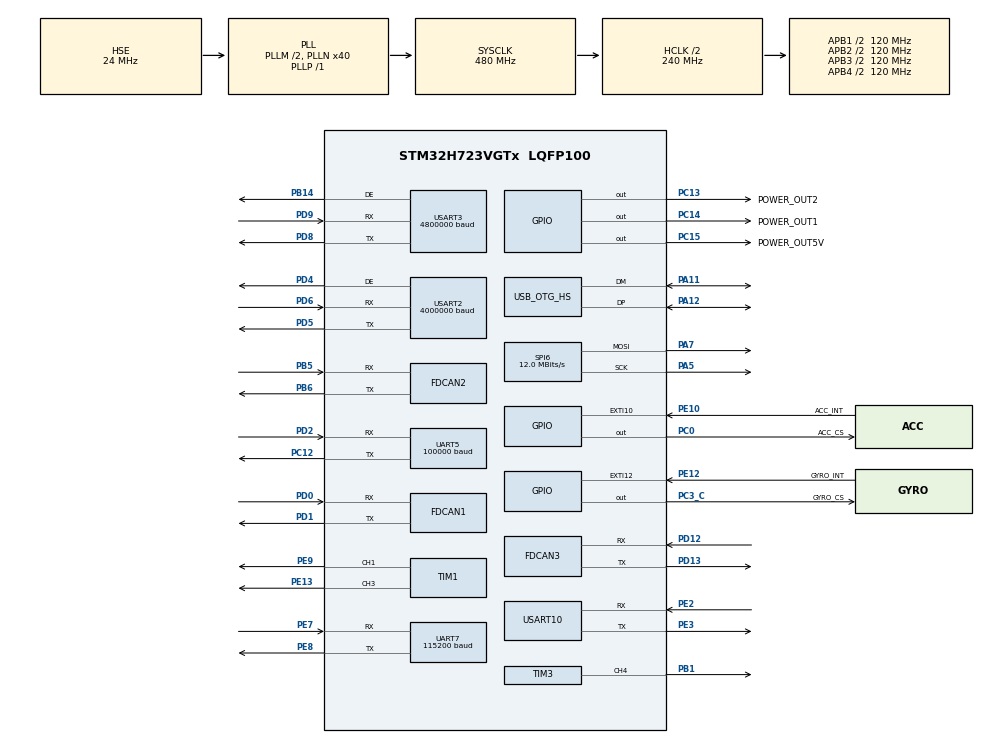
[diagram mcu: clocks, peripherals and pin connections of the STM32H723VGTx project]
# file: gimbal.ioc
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CRC.DefaultPolynomialUse=DEFAULT_POLYNOMIAL_DISABLE
Dma.Request0=USART2_RX
Dma.Request1=UART7_RX
Dma.Request2=UART7_TX
Dma.Request3=USART10_RX
Dma.Request4=USART10_TX
Dma.Request5=UART5_RX
Dma.UART5_RX.5.Direction=DMA_PERIPH_TO_MEMORY
Dma.UART5_RX.5.EventEnable=DISABLE
Dma.UART5_RX.5.FIFOMode=DMA_FIFOMODE_DISABLE
Dma.UART5_RX.5.Instance=DMA1_Stream1
Dma.UART5_RX.5.MemDataAlignment=DMA_MDATAALIGN_BYTE
Dma.UART5_RX.5.MemInc=DMA_MINC_ENABLE
Dma.UART5_RX.5.Mode=DMA_CIRCULAR
Dma.UART5_RX.5.PeriphDataAlignment=DMA_PDATAALIGN_BYTE
Dma.UART5_RX.5.PeriphInc=DMA_PINC_DISABLE
Dma.UART5_RX.5.Polarity=HAL_DMAMUX_REQ_GEN_RISING
Dma.UART5_RX.5.Priority=DMA_PRIORITY_VERY_HIGH
Dma.UART5_RX.5.RequestNumber=1
Dma.UART5_RX.5.SignalID=NONE
Dma.UART5_RX.5.SyncEnable=DISABLE
Dma.UART5_RX.5.SyncPolarity=HAL_DMAMUX_SYNC_NO_EVENT
Dma.UART5_RX.5.SyncRequestNumber=1
Dma.UART5_RX.5.SyncSignalID=NONE
Dma.UART7_RX.1.Direction=DMA_PERIPH_TO_MEMORY
Dma.UART7_RX.1.EventEnable=DISABLE
Dma.UART7_RX.1.FIFOMode=DMA_FIFOMODE_DISABLE
Dma.UART7_RX.1.Instance=DMA2_Stream2
Dma.UART7_RX.1.MemDataAlignment=DMA_MDATAALIGN_BYTE
Dma.UART7_RX.1.MemInc=DMA_MINC_ENABLE
Dma.UART7_RX.1.Mode=DMA_CIRCULAR
Dma.UART7_RX.1.PeriphDataAlignment=DMA_PDATAALIGN_BYTE
Dma.UART7_RX.1.PeriphInc=DMA_PINC_DISABLE
Dma.UART7_RX.1.Polarity=HAL_DMAMUX_REQ_GEN_RISING
Dma.UART7_RX.1.Priority=DMA_PRIORITY_VERY_HIGH
Dma.UART7_RX.1.RequestNumber=1
Dma.UART7_RX.1.SignalID=NONE
Dma.UART7_RX.1.SyncEnable=DISABLE
Dma.UART7_RX.1.SyncPolarity=HAL_DMAMUX_SYNC_NO_EVENT
Dma.UART7_RX.1.SyncRequestNumber=1
Dma.UART7_RX.1.SyncSignalID=NONE
Dma.UART7_TX.2.Direction=DMA_MEMORY_TO_PERIPH
Dma.UART7_TX.2.EventEnable=DISABLE
Dma.UART7_TX.2.FIFOMode=DMA_FIFOMODE_DISABLE
Dma.UART7_TX.2.Instance=DMA2_Stream1
Dma.UART7_TX.2.MemDataAlignment=DMA_MDATAALIGN_BYTE
Dma.UART7_TX.2.MemInc=DMA_MINC_ENABLE
Dma.UART7_TX.2.Mode=DMA_CIRCULAR
Dma.UART7_TX.2.PeriphDataAlignment=DMA_PDATAALIGN_BYTE
Dma.UART7_TX.2.PeriphInc=DMA_PINC_DISABLE
Dma.UART7_TX.2.Polarity=HAL_DMAMUX_REQ_GEN_RISING
Dma.UART7_TX.2.Priority=DMA_PRIORITY_VERY_HIGH
Dma.UART7_TX.2.RequestNumber=1
Dma.UART7_TX.2.SignalID=NONE
Dma.UART7_TX.2.SyncEnable=DISABLE
Dma.UART7_TX.2.SyncPolarity=HAL_DMAMUX_SYNC_NO_EVENT
Dma.UART7_TX.2.SyncRequestNumber=1
Dma.UART7_TX.2.SyncSignalID=NONE
Dma.USART10_RX.3.Direction=DMA_PERIPH_TO_MEMORY
Dma.USART10_RX.3.EventEnable=DISABLE
Dma.USART10_RX.3.FIFOMode=DMA_FIFOMODE_DISABLE
Dma.USART10_RX.3.Instance=DMA2_Stream3
Dma.USART10_RX.3.MemDataAlignment=DMA_MDATAALIGN_BYTE
Dma.USART10_RX.3.MemInc=DMA_MINC_ENABLE
Dma.USART10_RX.3.Mode=DMA_NORMAL
Dma.USART10_RX.3.PeriphDataAlignment=DMA_PDATAALIGN_BYTE
Dma.USART10_RX.3.PeriphInc=DMA_PINC_DISABLE
Dma.USART10_RX.3.Polarity=HAL_DMAMUX_REQ_GEN_RISING
Dma.USART10_RX.3.Priority=DMA_PRIORITY_VERY_HIGH
Dma.USART10_RX.3.RequestNumber=1
Dma.USART10_RX.3.SignalID=NONE
Dma.USART10_RX.3.SyncEnable=DISABLE
Dma.USART10_RX.3.SyncPolarity=HAL_DMAMUX_SYNC_NO_EVENT
Dma.USART10_RX.3.SyncRequestNumber=1
Dma.USART10_RX.3.SyncSignalID=NONE
Dma.USART10_TX.4.Direction=DMA_MEMORY_TO_PERIPH
Dma.USART10_TX.4.EventEnable=DISABLE
Dma.USART10_TX.4.FIFOMode=DMA_FIFOMODE_DISABLE
Dma.USART10_TX.4.Instance=DMA2_Stream4
Dma.USART10_TX.4.MemDataAlignment=DMA_MDATAALIGN_BYTE
Dma.USART10_TX.4.MemInc=DMA_MINC_ENABLE
Dma.USART10_TX.4.Mode=DMA_NORMAL
Dma.USART10_TX.4.PeriphDataAlignment=DMA_PDATAALIGN_BYTE
Dma.USART10_TX.4.PeriphInc=DMA_PINC_DISABLE
Dma.USART10_TX.4.Polarity=HAL_DMAMUX_REQ_GEN_RISING
Dma.USART10_TX.4.Priority=DMA_PRIORITY_VERY_HIGH
Dma.USART10_TX.4.RequestNumber=1
Dma.USART10_TX.4.SignalID=NONE
Dma.USART10_TX.4.SyncEnable=DISABLE
Dma.USART10_TX.4.SyncPolarity=HAL_DMAMUX_SYNC_NO_EVENT
Dma.USART10_TX.4.SyncRequestNumber=1
Dma.USART10_TX.4.SyncSignalID=NONE
Dma.USART2_RX.0.Direction=DMA_PERIPH_TO_MEMORY
Dma.USART2_RX.0.EventEnable=DISABLE
Dma.USART2_RX.0.FIFOMode=DMA_FIFOMODE_DISABLE
Dma.USART2_RX.0.Instance=DMA1_Stream0
Dma.USART2_RX.0.MemDataAlignment=DMA_MDATAALIGN_BYTE
Dma.USART2_RX.0.MemInc=DMA_MINC_ENABLE
Dma.USART2_RX.0.Mode=DMA_CIRCULAR
Dma.USART2_RX.0.PeriphDataAlignment=DMA_PDATAALIGN_BYTE
Dma.USART2_RX.0.PeriphInc=DMA_PINC_DISABLE
Dma.USART2_RX.0.Polarity=HAL_DMAMUX_REQ_GEN_RISING
Dma.USART2_RX.0.Priority=DMA_PRIORITY_VERY_HIGH
Dma.USART2_RX.0.RequestNumber=1
Dma.USART2_RX.0.SignalID=NONE
Dma.USART2_RX.0.SyncEnable=DISABLE
Dma.USART2_RX.0.SyncPolarity=HAL_DMAMUX_SYNC_NO_EVENT
Dma.USART2_RX.0.SyncRequestNumber=1
Dma.USART2_RX.0.SyncSignalID=NONE
FDCAN1.AutoRetransmission=ENABLE
FDCAN1.CalculateBaudRateNominal=1000000
FDCAN1.CalculateTimeBitNominal=1000
FDCAN1.CalculateTimeQuantumNominal=25.0
FDCAN1.DataPrescaler=3
FDCAN1.DataSyncJumpWidth=10
FDCAN1.DataTimeSeg1=29
FDCAN1.DataTimeSeg2=10
FDCAN1.NominalPrescaler=3
FDCAN1.NominalSyncJumpWidth=10
FDCAN1.NominalTimeSeg1=29
FDCAN1.NominalTimeSeg2=10
FDCAN1.ProtocolException=DISABLE
FDCAN1.RxFifo0ElmtsNbr=4
FDCAN1.StdFiltersNbr=1
FDCAN1.TxFifoQueueElmtsNbr=4
FDCAN2.AutoRetransmission=ENABLE
FDCAN2.CalculateBaudRateNominal=1000000
FDCAN2.CalculateTimeBitNominal=1000
FDCAN2.CalculateTimeQuantumNominal=25.0
FDCAN2.DataPrescaler=3
FDCAN2.DataSyncJumpWidth=10
FDCAN2.DataTimeSeg1=29
FDCAN2.DataTimeSeg2=10
FDCAN2.MessageRAMOffset=854
FDCAN2.NominalPrescaler=3
FDCAN2.NominalSyncJumpWidth=10
FDCAN2.NominalTimeSeg1=29
FDCAN2.NominalTimeSeg2=10
FDCAN2.ProtocolException=DISABLE
FDCAN2.RxFifo0ElmtsNbr=4
FDCAN2.RxFifo1ElmtsNbr=0
FDCAN2.StdFiltersNbr=1
FDCAN2.TxFifoQueueElmtsNbr=4
FDCAN3.AutoRetransmission=ENABLE
FDCAN3.CalculateBaudRateNominal=1000000
FDCAN3.CalculateTimeBitNominal=1000
FDCAN3.CalculateTimeQuantumNominal=25.0
FDCAN3.DataPrescaler=3
FDCAN3.DataSyncJumpWidth=10
FDCAN3.DataTimeSeg1=29
FDCAN3.DataTimeSeg2=10
FDCAN3.MessageRAMOffset=1708
FDCAN3.NominalPrescaler=3
FDCAN3.NominalSyncJumpWidth=10
FDCAN3.NominalTimeSeg1=29
FDCAN3.NominalTimeSeg2=10
FDCAN3.ProtocolException=DISABLE
FDCAN3.RxFifo0ElmtsNbr=4
FDCAN3.RxFifo1ElmtsNbr=0
FDCAN3.StdFiltersNbr=1
FDCAN3.TxFifoQueueElmtsNbr=4
FREERTOS.Tasks01=defaultTask,24,128,StartDefaultTask,Default,NULL,Dynamic,NULL,NULL;ControlLoopTask,48,512,StartControlLoopTask,Default,NULL,Dynamic,NULL,NULL
FREERTOS.configTOTAL_HEAP_SIZE=16384
Mcu.Family=STM32H7
Mcu.Name=STM32H723VGTx
Mcu.Package=LQFP100
NVIC.DMA1_Stream0_IRQn=true\:5\:0\:false\:false\:true\:true\:false\:true\:true
NVIC.DMA1_Stream1_IRQn=true\:5\:0\:true\:false\:true\:false\:false\:true\:true
NVIC.DMA2_Stream1_IRQn=true\:5\:0\:false\:false\:true\:true\:false\:true\:true
NVIC.DMA2_Stream2_IRQn=true\:5\:0\:false\:false\:true\:false\:false\:true\:true
NVIC.DMA2_Stream3_IRQn=true\:5\:0\:false\:false\:true\:true\:false\:true\:true
NVIC.DMA2_Stream4_IRQn=true\:5\:0\:false\:false\:true\:false\:false\:true\:true
NVIC.FDCAN1_IT0_IRQn=true\:5\:0\:false\:false\:true\:true\:true\:true\:true
NVIC.FDCAN2_IT0_IRQn=true\:5\:0\:false\:false\:true\:true\:true\:true\:true
NVIC.FDCAN3_IT0_IRQn=true\:5\:0\:false\:false\:true\:true\:true\:true\:true
NVIC.OTG_HS_IRQn=true\:5\:0\:false\:false\:true\:true\:false\:true\:true
NVIC.PriorityGroup=NVIC_PRIORITYGROUP_4
NVIC.TIM2_IRQn=true\:15\:0\:false\:false\:true\:false\:false\:true\:true
NVIC.TimeBase=TIM2_IRQn
NVIC.TimeBaseIP=TIM2
NVIC.UART5_IRQn=true\:5\:0\:false\:false\:true\:true\:true\:true\:true
NVIC.UART7_IRQn=true\:5\:0\:false\:false\:true\:true\:true\:true\:true
NVIC.USART10_IRQn=true\:5\:0\:false\:false\:true\:true\:true\:true\:true
NVIC.USART2_IRQn=true\:5\:0\:false\:false\:true\:true\:true\:true\:true
NVIC.USART3_IRQn=true\:5\:0\:false\:false\:true\:true\:true\:true\:true
PA11.Mode=Device_Only_FS
PA11.Signal=USB_OTG_HS_DM
PA12.Mode=Device_Only_FS
PA12.Signal=USB_OTG_HS_DP
PA13(JTMS/SWDIO).Mode=Serial_Wire
PA13(JTMS/SWDIO).Signal=DEBUG_JTMS-SWDIO
PA14(JTCK/SWCLK).Mode=Serial_Wire
PA14(JTCK/SWCLK).Signal=DEBUG_JTCK-SWCLK
PA5.GPIO_Speed=GPIO_SPEED_FREQ_VERY_HIGH
PA5.Mode=TX_Only_Simplex_Unidirect_Master
PA5.Signal=SPI6_SCK
PA7.GPIO_Speed=GPIO_SPEED_FREQ_VERY_HIGH
PA7.Mode=TX_Only_Simplex_Unidirect_Master
PA7.Signal=SPI6_MOSI
PB1.Signal=S_TIM3_CH4
PB13.Signal=SPI2_SCK
PB14.GPIO_PuPd=GPIO_PULLDOWN
PB14.GPIO_Speed=GPIO_SPEED_FREQ_VERY_HIGH
PB14.Mode=Hardware Flow Control (RS485)
PB14.Signal=USART3_DE
PB5.GPIO_Speed=GPIO_SPEED_FREQ_LOW
PB5.Mode=FDCAN_Activate
PB5.Signal=FDCAN2_RX
PB6.GPIO_FM6=SYSCFG_PMCR_I2C_PB6_FMP
PB6.GPIO_Speed=GPIO_SPEED_FREQ_LOW
PB6.Mode=FDCAN_Activate
PB6.Signal=FDCAN2_TX
PC0.GPIO_Label=ACC_CS
PC0.GPIO_PuPd=GPIO_NOPULL
PC0.GPIO_Speed=GPIO_SPEED_FREQ_VERY_HIGH
PC0.PinState=GPIO_PIN_SET
PC0.Signal=GPIO_Output
PC12.Mode=Asynchronous
PC12.Signal=UART5_TX
PC13.GPIO_Label=POWER_OUT2
PC13.PinState=GPIO_PIN_SET
PC13.Signal=GPIO_Output
PC14-OSC32_IN.GPIO_Label=POWER_OUT1
PC14-OSC32_IN.PinState=GPIO_PIN_SET
PC14-OSC32_IN.Signal=GPIO_Output
PC15-OSC32_OUT.GPIO_Label=POWER_OUT5V
PC15-OSC32_OUT.PinState=GPIO_PIN_SET
PC15-OSC32_OUT.Signal=GPIO_Output
PC3_C.GPIO_Label=GYRO_CS
PC3_C.GPIO_PuPd=GPIO_NOPULL
PC3_C.GPIO_Speed=GPIO_SPEED_FREQ_VERY_HIGH
PC3_C.PinState=GPIO_PIN_SET
PC3_C.Signal=GPIO_Output
PD0.GPIO_Speed=GPIO_SPEED_FREQ_LOW
PD0.Mode=FDCAN_Activate
PD0.Signal=FDCAN1_RX
PD1.GPIO_Speed=GPIO_SPEED_FREQ_LOW
PD1.Mode=FDCAN_Activate
PD1.Signal=FDCAN1_TX
PD12.Mode=FDCAN_Activate
PD12.Signal=FDCAN3_RX
PD13.Mode=FDCAN_Activate
PD13.Signal=FDCAN3_TX
PD2.Mode=Asynchronous
PD2.Signal=UART5_RX
PD4.GPIO_PuPd=GPIO_PULLDOWN
PD4.GPIO_Speed=GPIO_SPEED_FREQ_VERY_HIGH
PD4.Mode=Hardware Flow Control (RS485)
PD4.Signal=USART2_DE
PD5.GPIO_Speed=GPIO_SPEED_FREQ_VERY_HIGH
PD5.Mode=Asynchronous
PD5.Signal=USART2_TX
PD6.GPIO_Speed=GPIO_SPEED_FREQ_VERY_HIGH
PD6.Mode=Asynchronous
PD6.Signal=USART2_RX
PD8.GPIO_Speed=GPIO_SPEED_FREQ_VERY_HIGH
PD8.Mode=Asynchronous
PD8.Signal=USART3_TX
PD9.GPIO_Speed=GPIO_SPEED_FREQ_VERY_HIGH
PD9.Mode=Asynchronous
PD9.Signal=USART3_RX
PE10.GPIO_Label=ACC_INT
PE10.Signal=GPXTI10
PE12.GPIO_Label=GYRO_INT
PE12.Signal=GPXTI12
PE13.Signal=S_TIM1_CH3
PE2.Mode=Asynchronous
PE2.Signal=USART10_RX
PE3.Mode=Asynchronous
PE3.Signal=USART10_TX
PE7.GPIO_Speed=GPIO_SPEED_FREQ_VERY_HIGH
PE7.Mode=Asynchronous
PE7.Signal=UART7_RX
PE8.GPIO_Speed=GPIO_SPEED_FREQ_VERY_HIGH
PE8.Mode=Asynchronous
PE8.Signal=UART7_TX
PE9.Signal=S_TIM1_CH1
PH0-OSC_IN.Mode=HSE-External-Oscillator
PH0-OSC_IN.Signal=RCC_OSC_IN
PH1-OSC_OUT.Mode=HSE-External-Oscillator
PH1-OSC_OUT.Signal=RCC_OSC_OUT
ProjectManager.HeapSize=0x20000
ProjectManager.StackSize=0x800
ProjectManager.TargetToolchain=MDK-ARM V5.27
RCC.ADCFreq_Value=48375000
RCC.APB1Freq_Value=120000000
RCC.APB2Freq_Value=120000000
RCC.APB3Freq_Value=120000000
RCC.APB4Freq_Value=120000000
RCC.CortexFreq_Value=480000000
RCC.D1PPRE=RCC_APB3_DIV2
RCC.D2PPRE1=RCC_APB1_DIV2
RCC.D2PPRE2=RCC_APB2_DIV2
RCC.D3PPRE=RCC_APB4_DIV2
RCC.DIVM1=2
RCC.DIVN1=40
RCC.DIVP1=1
RCC.DIVQ1=4
RCC.HCLKFreq_Value=240000000
RCC.HPRE=RCC_HCLK_DIV2
RCC.HSE_VALUE=24000000
RCC.PLL2FRACN=0
RCC.PLL3FRACN=0
RCC.PLLFRACN=0
RCC.PLLSourceVirtual=RCC_PLLSOURCE_HSE
RCC.SPI6CLockSelection=RCC_SPI6CLKSOURCE_HSE
RCC.SYSCLKFreq_VALUE=480000000
RCC.SYSCLKSource=RCC_SYSCLKSOURCE_PLLCLK
RCC.USBCLockSelection=RCC_USBCLKSOURCE_HSI48
RCC.USBFreq_Value=48000000
SH.S_TIM1_CH1.0=TIM1_CH1,PWM Generation1 CH1
SH.S_TIM1_CH3.0=TIM1_CH3,PWM Generation3 CH3
SH.S_TIM3_CH4.0=TIM3_CH4,PWM Generation4 CH4
SPI6.CalculateBaudRate=12.0 MBits/s
SPI6.Direction=SPI_DIRECTION_2LINES_TXONLY
SPI6.Mode=SPI_MODE_MASTER
SPI6.VirtualType=VM_MASTER
TIM1.Channel-PWM\ Generation1\ CH1=TIM_CHANNEL_1
TIM1.Channel-PWM\ Generation3\ CH3=TIM_CHANNEL_3
TIM3.Channel-PWM\ Generation4\ CH4=TIM_CHANNEL_4
TIM3.Period=2000-1
TIM3.Prescaler=84-1
UART5.BaudRate=100000
UART5.Parity=PARITY_EVEN
UART5.StopBits=UART_STOPBITS_2
UART5.WordLength=WORDLENGTH_9B
UART7.BaudRate=115200
USART10.VirtualMode=VM_ASYNC
USART2.BaudRate=4000000
USART2.DMADisableonRxErrorParam=ADVFEATURE_DMA_ENABLEONRXERROR
USART2.OverSampling=UART_OVERSAMPLING_8
USART2.OverrunDisableParam=ADVFEATURE_OVERRUN_ENABLE
USART2.RXFIFOThreshold=RXFIFO_THRESHOLD_1EIGHTHFULL
USART2.TXFIFOThreshold=TXFIFO_THRESHOLD_1EIGHTHFULL
USART2.VirtualMode-Asynchronous=VM_ASYNC
USART2.VirtualMode-Hardware\ Flow\ Control\ (RS485)=VM_ASYNC
USART3.BaudRate=4800000
USART3.VirtualMode-Asynchronous=VM_ASYNC
USART3.VirtualMode-Hardware\ Flow\ Control\ (RS485)=VM_ASYNC
USB_DEVICE.CLASS_NAME_HS=CDC
USB_DEVICE.VirtualMode=Cdc
USB_DEVICE.VirtualModeHS=Cdc_HS
USB_OTG_HS.VirtualMode-Device_Only_FS=Device_Only_FS
VP_CRC_VS_CRC.Mode=CRC_Activate
VP_FREERTOS_VS_CMSIS_V2.Mode=CMSIS_V2
VP_MEMORYMAP_VS_MEMORYMAP.Mode=CurAppReg
VP_RTC_VS_RTC_Activate.Mode=RTC_Enabled
VP_RTC_VS_RTC_Calendar.Mode=RTC_Calendar
VP_SYS_VS_tim2.Mode=TIM2
VP_USB_DEVICE_VS_USB_DEVICE_CDC_HS.Mode=CDC_HS
board=custom

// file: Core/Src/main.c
/* USER CODE BEGIN Header */
/**
  ******************************************************************************
  * @file           : main.c
  * @brief          : Main program body
  ******************************************************************************
  * @attention
  *
  * Copyright (c) 2026 STMicroelectronics.
  * All rights reserved.
  *
  * This software is licensed under terms that can be found in the LICENSE file
  * in the root directory of this software component.
  * If no LICENSE file comes with this software, it is provided AS-IS.
  *
  ******************************************************************************
  */
/* USER CODE END Header */
#include "main.h"
#include "cmsis_os.h"
#include "crc.h"
#include "dma.h"
#include "fdcan.h"
#include "rtc.h"
#include "spi.h"
#include "tim.h"
#include "usart.h"
#include "usb_device.h"
#include "gpio.h"

void SystemClock_Config(void);
void MX_FREERTOS_Init(void);

int main(void)
{

  /* MCU Configuration--------------------------------------------------------*/

  /* Reset of all peripherals, Initializes the Flash interface and the Systick. */
  HAL_Init();

  /* Configure the system clock */
  SystemClock_Config();

  /* Initialize all configured peripherals */
  MX_GPIO_Init();
  MX_DMA_Init();
  MX_SPI6_Init();
  MX_FDCAN1_Init();
  MX_FDCAN2_Init();
  MX_USART2_UART_Init();
  MX_USART3_UART_Init();
  MX_CRC_Init();
  MX_UART7_Init();
  MX_TIM3_Init();
  MX_FDCAN3_Init();
  MX_USART10_UART_Init();
  MX_UART5_Init();
  MX_TIM1_Init();
  MX_RTC_Init();

  /* Init scheduler */
  osKernelInitialize();

  /* Call init function for freertos objects (in cmsis_os2.c) */
  MX_FREERTOS_Init();

  /* Start scheduler */
  osKernelStart();

  /* We should never get here as control is now taken by the scheduler */

  /* Infinite loop */
  while (1)
  {

  }
}

void SystemClock_Config(void)
{
  RCC_OscInitTypeDef RCC_OscInitStruct = {0};
  RCC_ClkInitTypeDef RCC_ClkInitStruct = {0};

  /** Supply configuration update enable
  */
  HAL_PWREx_ConfigSupply(PWR_LDO_SUPPLY);

  /** Configure the main internal regulator output voltage
  */
  __HAL_PWR_VOLTAGESCALING_CONFIG(PWR_REGULATOR_VOLTAGE_SCALE0);

  while(!__HAL_PWR_GET_FLAG(PWR_FLAG_VOSRDY)) {}

  /** Initializes the RCC Oscillators according to the specified parameters
  * in the RCC_OscInitTypeDef structure.
  */
  RCC_OscInitStruct.OscillatorType = RCC_OSCILLATORTYPE_HSI48|RCC_OSCILLATORTYPE_LSI
                              |RCC_OSCILLATORTYPE_HSE;
  RCC_OscInitStruct.HSEState = RCC_HSE_ON;
  RCC_OscInitStruct.LSIState = RCC_LSI_ON;
  RCC_OscInitStruct.HSI48State = RCC_HSI48_ON;
  RCC_OscInitStruct.PLL.PLLState = RCC_PLL_ON;
  RCC_OscInitStruct.PLL.PLLSource = RCC_PLLSOURCE_HSE;
  RCC_OscInitStruct.PLL.PLLM = 2;
  RCC_OscInitStruct.PLL.PLLN = 40;
  RCC_OscInitStruct.PLL.PLLP = 1;
  RCC_OscInitStruct.PLL.PLLQ = 4;
  RCC_OscInitStruct.PLL.PLLR = 2;
  RCC_OscInitStruct.PLL.PLLRGE = RCC_PLL1VCIRANGE_3;
  RCC_OscInitStruct.PLL.PLLVCOSEL = RCC_PLL1VCOWIDE;
  RCC_OscInitStruct.PLL.PLLFRACN = 0;
  if (HAL_RCC_OscConfig(&RCC_OscInitStruct) != HAL_OK)
  {
    Error_Handler();
  }

  /** Initializes the CPU, AHB and APB buses clocks
  */
  RCC_ClkInitStruct.ClockType = RCC_CLOCKTYPE_HCLK|RCC_CLOCKTYPE_SYSCLK
                              |RCC_CLOCKTYPE_PCLK1|RCC_CLOCKTYPE_PCLK2
                              |RCC_CLOCKTYPE_D3PCLK1|RCC_CLOCKTYPE_D1PCLK1;
  RCC_ClkInitStruct.SYSCLKSource = RCC_SYSCLKSOURCE_PLLCLK;
  RCC_ClkInitStruct.SYSCLKDivider = RCC_SYSCLK_DIV1;
  RCC_ClkInitStruct.AHBCLKDivider = RCC_HCLK_DIV2;
  RCC_ClkInitStruct.APB3CLKDivider = RCC_APB3_DIV2;
  RCC_ClkInitStruct.APB1CLKDivider = RCC_APB1_DIV2;
  RCC_ClkInitStruct.APB2CLKDivider = RCC_APB2_DIV2;
  RCC_ClkInitStruct.APB4CLKDivider = RCC_APB4_DIV2;

  if (HAL_RCC_ClockConfig(&RCC_ClkInitStruct, FLASH_LATENCY_3) != HAL_OK)
  {
    Error_Handler();
  }
}

void HAL_TIM_PeriodElapsedCallback(TIM_HandleTypeDef *htim)
{
  if (htim->Instance == TIM2)
  {
    HAL_IncTick();
  }
}

void Error_Handler(void)
{
  __disable_irq();
  while (1)
  {
  }
}

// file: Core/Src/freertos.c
/* USER CODE BEGIN Header */
/**
 ******************************************************************************
 * File Name          : freertos.c
 * Description        : Code for freertos applications
 ******************************************************************************
 * @attention
 *
 * Copyright (c) 2026 STMicroelectronics.
 * All rights reserved.
 *
 * This software is licensed under terms that can be found in the LICENSE file
 * in the root directory of this software component.
 * If no LICENSE file comes with this software, it is provided AS-IS.
 *
 ******************************************************************************
 */
/* USER CODE END Header */

#include "FreeRTOS.h"
#include "cmsis_os.h"
#include "main.h"
#include "task.h"

/* USER CODE BEGIN Includes */
#include "../../Tasks/Inc/Gimbal_Control_Task.h"
#include "../../Tasks/Inc/Referee_Task.h"
#include "../../Tasks/Inc/SBUS_Task.h"
#include "../../Tasks/Inc/Shoot_Task.h"
#include "../../Tasks/Inc/VOFA_Task.h"

/* USER CODE END Includes */

/* USER CODE BEGIN Variables */
osEventFlagsId_t gimbal_ready_event;
static osThreadId_t sbus_task_handle;
static osThreadId_t shoot_task_handle;
static osThreadId_t referee_task_handle;
static osThreadId_t vofa_task_handle;
static const osThreadAttr_t vofa_attributes = {
    .name = "VOFA", .stack_size = 1536, .priority = osPriorityBelowNormal};
static const osThreadAttr_t sbus_attributes = {
    .name = "SBUS", .stack_size = 1024, .priority = osPriorityHigh};
static const osThreadAttr_t shoot_attributes = {
    .name = "Shoot", .stack_size = 1536, .priority = osPriorityAboveNormal};
static const osThreadAttr_t referee_attributes = {
    .name = "Referee", .stack_size = 2048, .priority = osPriorityNormal};
/* USER CODE END Variables */
/* Definitions for defaultTask */
osThreadId_t defaultTaskHandle;
const osThreadAttr_t defaultTask_attributes = {
    .name = "defaultTask",
    .stack_size = 128 * 4,
    .priority = (osPriority_t)osPriorityNormal,
};
/* Definitions for ControlLoopTask */
osThreadId_t ControlLoopTaskHandle;
const osThreadAttr_t ControlLoopTask_attributes = {
    .name = "ControlLoopTask",
    .stack_size = 512 * 4,
    .priority = (osPriority_t)osPriorityRealtime,
};

void StartDefaultTask(void *argument);
void StartControlLoopTask(void *argument);

extern void MX_USB_DEVICE_Init(void);
void MX_FREERTOS_Init(void); /* (MISRA C 2004 rule 8.1) */

void MX_FREERTOS_Init(void) {
  /* USER CODE BEGIN Init */
  gimbal_ready_event = osEventFlagsNew(NULL);
  if (gimbal_ready_event == NULL)
    Error_Handler();
  /* USER CODE END Init */

  /* Create the thread(s) */
  defaultTaskHandle =
      osThreadNew(StartDefaultTask, NULL, &defaultTask_attributes);
  ControlLoopTaskHandle =
      osThreadNew(StartControlLoopTask, NULL, &ControlLoopTask_attributes);

  /* USER CODE BEGIN RTOS_THREADS */
  sbus_task_handle = osThreadNew(StartSBUSTask, NULL, &sbus_attributes);
  shoot_task_handle = osThreadNew(StartShootTask, NULL, &shoot_attributes);
  referee_task_handle =
      osThreadNew(StartRefereeTask, NULL, &referee_attributes);
  vofa_task_handle = osThreadNew(StartVOFATask, NULL, &vofa_attributes);
  if (defaultTaskHandle == NULL || ControlLoopTaskHandle == NULL ||
      sbus_task_handle == NULL || shoot_task_handle == NULL ||
      referee_task_handle == NULL || vofa_task_handle == NULL)
    Error_Handler();
  /* USER CODE END RTOS_THREADS */

}

void StartDefaultTask(void *argument) {
  (void)argument;
  /* init code for USB_DEVICE */
  MX_USB_DEVICE_Init();
  for (;;) {
    osDelay(1);
  }
}

void StartControlLoopTask(void *argument) {
  /* USER CODE BEGIN StartControlLoopTask */
  Gimbal_Control_Task(argument);
  /* USER CODE END StartControlLoopTask */
}
